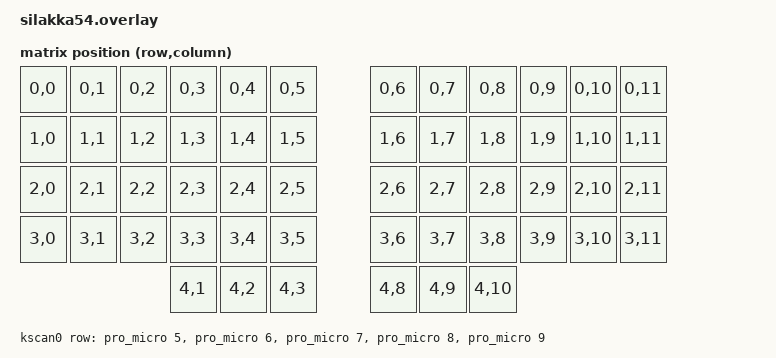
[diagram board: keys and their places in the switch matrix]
#include <dt-bindings/zmk/matrix_transform.h>
// #include <layouts/ergonomic/matrix.dtsi>

/ {
    silakka54_layout: silakka54_layout {
        compatible = "zmk,physical-layout";
        display-name = "Silakka54";
        transform = <&silakka_transform>;
        kscan = <&kscan0>;

        // Explicit keys dictionary mapping row/col indices cleanly for ZMK Studio
        keys {
            // Left Half Alphas
            k00 { row = <0>; col = <0>; };
            k01 { row = <0>; col = <1>; };
            k02 { row = <0>; col = <2>; };
            k03 { row = <0>; col = <3>; };
            k04 { row = <0>; col = <4>; };
            k05 { row = <0>; col = <5>; };

            k10 { row = <1>; col = <0>; };
            k11 { row = <1>; col = <1>; };
            k12 { row = <1>; col = <2>; };
            k13 { row = <1>; col = <3>; };
            k14 { row = <1>; col = <4>; };
            k15 { row = <1>; col = <5>; };

            k20 { row = <2>; col = <0>; };
            k21 { row = <2>; col = <1>; };
            k22 { row = <2>; col = <2>; };
            k23 { row = <2>; col = <3>; };
            k24 { row = <2>; col = <4>; };
            k25 { row = <2>; col = <5>; };

            k30 { row = <3>; col = <0>; };
            k31 { row = <3>; col = <1>; };
            k32 { row = <3>; col = <2>; };
            k33 { row = <3>; col = <3>; };
            k34 { row = <3>; col = <4>; };
            k35 { row = <3>; col = <5>; };

            // Left Half Thumbs (Row 4)
            k43 { row = <4>; col = <3>; };
            k44 { row = <4>; col = <4>; };
            k45 { row = <4>; col = <5>; };

            // Right Half Alphas
            k06 { row = <0>; col = <6>; };
            k07 { row = <0>; col = <7>; };
            k08 { row = <0>; col = <8>; };
            k09 { row = <0>; col = <9>; };
            k0a { row = <0>; col = <10>; };
            k0b { row = <0>; col = <11>; };

            k16 { row = <1>; col = <6>; };
            k17 { row = <1>; col = <7>; };
            k18 { row = <1>; col = <8>; };
            k19 { row = <1>; col = <9>; };
            k1a { row = <1>; col = <10>; };
            k1b { row = <1>; col = <11>; };

            k26 { row = <2>; col = <6>; };
            k27 { row = <2>; col = <7>; };
            k28 { row = <2>; col = <8>; };
            k29 { row = <2>; col = <9>; };
            k2a { row = <2>; col = <10>; };
            k2b { row = <2>; col = <11>; };

            k36 { row = <3>; col = <6>; };
            k37 { row = <3>; col = <7>; };
            k38 { row = <3>; col = <8>; };
            k39 { row = <3>; col = <9>; };
            k3a { row = <3>; col = <10>; };
            k3b { row = <3>; col = <11>; };

            // Right Half Thumbs (Row 4)
            k46 { row = <4>; col = <6>; };
            k47 { row = <4>; col = <7>; };
            k48 { row = <4>; col = <8>; };
        };
    };

    silakka_transform: matrix_transform {
        compatible = "zmk,matrix-transform";
        columns = <16>;
        rows = <5>;
// | SW6  | SW5  | SW4  | SW3  | SW2  | SW1  |                 | SW1  | SW2  | SW3  | SW4  | SW5  | SW6  |
// | SW12 | SW11 | SW10 | SW9  | SW8  | SW7  |                 | SW7  | SW8  | SW9  | SW10 | SW11 | SW12 |
// | SW18 | SW17 | SW16 | SW15 | SW14 | SW13 |                 | SW13 | SW14 | SW15 | SW16 | SW17 | SW18 |
// | SW24 | SW23 | SW22 | SW21 | SW20 | SW19 |                 | SW19 | SW20 | SW21 | SW22 | SW23 | SW24 |
//                      | SW29 | SW28 | SW27 |                 | SW27 | SW28 | SW29 |
        map = <
RC(0,0) RC(0,1) RC(0,2) RC(0,3) RC(0,4) RC(0,5)                 RC(0,6) RC(0,7) RC(0,8) RC(0,9) RC(0,10) RC(0,11)
RC(1,0) RC(1,1) RC(1,2) RC(1,3) RC(1,4) RC(1,5)                 RC(1,6) RC(1,7) RC(1,8) RC(1,9) RC(1,10) RC(1,11)
RC(2,0) RC(2,1) RC(2,2) RC(2,3) RC(2,4) RC(2,5)                 RC(2,6) RC(2,7) RC(2,8) RC(2,9) RC(2,10) RC(2,11)
RC(3,0) RC(3,1) RC(3,2) RC(3,3) RC(3,4) RC(3,5)                 RC(3,6) RC(3,7) RC(3,8) RC(3,9) RC(3,10) RC(3,11)
                        RC(4,1) RC(4,2) RC(4,3)                 RC(4,8) RC(4,9) RC(4,10)
        >;
    };

    kscan0: kscan {
        compatible = "zmk,kscan-gpio-matrix";
        wakeup-source;

        diode-direction = "col2row";
        row-gpios
            = <&pro_micro 5 (GPIO_ACTIVE_HIGH | GPIO_PULL_DOWN)>
            , <&pro_micro 6 (GPIO_ACTIVE_HIGH | GPIO_PULL_DOWN)>
            , <&pro_micro 7 (GPIO_ACTIVE_HIGH | GPIO_PULL_DOWN)>
            , <&pro_micro 8 (GPIO_ACTIVE_HIGH | GPIO_PULL_DOWN)>
            , <&pro_micro 9 (GPIO_ACTIVE_HIGH | GPIO_PULL_DOWN)>
            ;
    };
};
